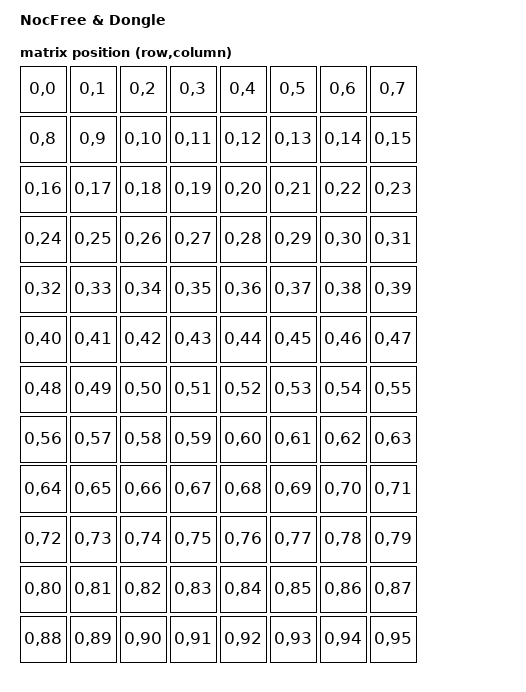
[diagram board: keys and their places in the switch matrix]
/dts-v1/;
#include <dt-bindings/zmk/matrix_transform.h>
#include <nordic/nrf52833_qiaa.dtsi>
/* Required for &bootloader to reach the UF2 bootloader on ZMK main:
 * defines the gpregret1 retention area + magic mapper. Without it
 * &bootloader is a plain reset. */
#include <common/nordic/nrf52833_uf2_boot_mode.dtsi>

/*
 * The dongle has no keys and no expanders -- it is a radio bridge with USB.
 * It therefore does NOT include nocfree.dtsi. It needs a kscan node anyway
 * because ZMK's central expects one, so it gets the mock (zero-key) driver.
 *
 * This is the device with the highest recovery risk: no keys means &bootloader
 * can never be bound, so the CDC 1200-baud shim is the ONLY way back in.
 * Flash this one FIRST, while the halves are still stock. See RECOVERY.md.
 */

/ {
	model = "NocFree & Dongle";
	compatible = "nocfree,dongle";

	chosen {
		zephyr,sram = &sram0;
		zephyr,flash = &flash0;
		zephyr,code-partition = &code_partition;
		zephyr,console = &cdc_acm_uart;
		zmk,kscan = &kscan0;
		zmk,physical-layout = &default_layout;
	};

	/*
	 * Keyless central. `events` is NOT optional: kscan_mock.c declares
	 * uint32_t events[DT_INST_PROP_LEN(n, events)], which fails to compile if
	 * the property is absent. The driver is auto-selected from the DT compat
	 * (ZMK_KSCAN_MOCK_DRIVER) -- there is no CONFIG_ZMK_KSCAN_MOCK to set.
	 */
	kscan0: kscan_mock {
		compatible = "zmk,kscan-mock";
		columns = <0>;
		rows = <0>;
		/*
		 * events = <0> would NOT mean "no events": kscan_mock decodes it as
		 * ZMK_MOCK_RELEASE(row 0, col 0, 0 ms) and injects a phantom release
		 * of position 0 at every boot. Use row 1, which is out of range for a
		 * rows=1 transform, so the transform returns -EINVAL and it is dropped.
		 */
		events = <1>;
	};

	/*
	 * The central's transform must cover positions from BOTH peripherals:
	 * 48 (left) + 48 (right) = 96. The dongle's own kscan is empty, but split
	 * position events still index into this transform, so the keymap has 96
	 * bindings per layer.
	 *
	 * PLACEHOLDER ordering: 0-47 assumed left, 48-95 assumed right, each in raw
	 * expander pin order. Both assumptions are unverified -- confirm during the
	 * discovery pass and rewrite.
	 */
	default_layout: physical_layout_0 {
		compatible = "zmk,physical-layout";
		display-name = "Default";
		transform = <&default_transform>;
	};

	default_transform: keymap_transform_0 {
		compatible = "zmk,matrix-transform";
		columns = <96>;
		rows = <1>;
		map = <
			RC(0,0)  RC(0,1)  RC(0,2)  RC(0,3)  RC(0,4)  RC(0,5)  RC(0,6)  RC(0,7)
			RC(0,8)  RC(0,9)  RC(0,10) RC(0,11) RC(0,12) RC(0,13) RC(0,14) RC(0,15)
			RC(0,16) RC(0,17) RC(0,18) RC(0,19) RC(0,20) RC(0,21) RC(0,22) RC(0,23)
			RC(0,24) RC(0,25) RC(0,26) RC(0,27) RC(0,28) RC(0,29) RC(0,30) RC(0,31)
			RC(0,32) RC(0,33) RC(0,34) RC(0,35) RC(0,36) RC(0,37) RC(0,38) RC(0,39)
			RC(0,40) RC(0,41) RC(0,42) RC(0,43) RC(0,44) RC(0,45) RC(0,46) RC(0,47)
			RC(0,48) RC(0,49) RC(0,50) RC(0,51) RC(0,52) RC(0,53) RC(0,54) RC(0,55)
			RC(0,56) RC(0,57) RC(0,58) RC(0,59) RC(0,60) RC(0,61) RC(0,62) RC(0,63)
			RC(0,64) RC(0,65) RC(0,66) RC(0,67) RC(0,68) RC(0,69) RC(0,70) RC(0,71)
			RC(0,72) RC(0,73) RC(0,74) RC(0,75) RC(0,76) RC(0,77) RC(0,78) RC(0,79)
			RC(0,80) RC(0,81) RC(0,82) RC(0,83) RC(0,84) RC(0,85) RC(0,86) RC(0,87)
			RC(0,88) RC(0,89) RC(0,90) RC(0,91) RC(0,92) RC(0,93) RC(0,94) RC(0,95)
		>;
	};
};

&gpio0 { status = "okay"; };
/*
 * GPIOTE must be enabled or gpio_nrfx.c fails a static assert:
 * "Please enable GPIOTE instance for used GPIO port!". Zephyr's nRF GPIO driver
 * pulls in nrfx_gpiote unconditionally, and every enabled GPIO port needs an
 * instance behind it -- this is not optional even though our kscan polls the
 * I2C expanders rather than using nRF interrupts.
 */
&gpiote {
	status = "okay";
};

&gpio1 { status = "okay"; };

&usbd {
	status = "okay";
	cdc_acm_uart: cdc_acm_uart {
		compatible = "zephyr,cdc-acm-uart";
	};
};

/* Same Adafruit bootloader layout as the halves -- app entry at 0x27000. */
&flash0 {
	partitions {
		compatible = "fixed-partitions";
		#address-cells = <1>;
		#size-cells = <1>;

		/*
		 * nRF52833 has 512 KB (0x80000) of flash -- NOT 1 MB. An earlier
		 * version of this file used nRF52840 offsets and ran to 0x100000,
		 * i.e. double the real flash, with a code partition that would have
		 * overlapped the bootloader. Anything that overwrites the bootloader
		 * on a device with no reset button is an unrecoverable brick, so
		 * these numbers matter more here than usual.
		 *
		 * App entry at 0x27000 is the one hard fact: every stock .uf2, for
		 * both halves and the dongle, has its first block targeting 0x27000.
		 * The top 48 KB is the Adafruit bootloader and its settings.
		 *
		 * 276 KB of code space, matching the ~280 KB expected for this part with
		 * the SoftDevice region reserved.
		 *
		 * DO NOT use ZMK's `nrf52833-nosd` snippet here. It relocates the code
		 * partition to 0x1000, which is only valid for bootloaders that jump
		 * there. This one jumps to 0x27000, so the resulting image would not
		 * boot. Reclaiming that 156 KB would mean replacing the vendor
		 * bootloader, which we are explicitly not doing.
		 */
		sd_partition: partition@0 {
			label = "softdevice";
			reg = <0x00000000 0x00027000>;
		};

		code_partition: partition@27000 {
			label = "code";
			reg = <0x00027000 0x00045000>;
		};

		storage_partition: partition@6c000 {
			label = "storage";
			reg = <0x0006c000 0x00008000>;
		};

		boot_partition: partition@74000 {
			label = "adafruit_boot";
			reg = <0x00074000 0x0000c000>;
		};
	};
};
